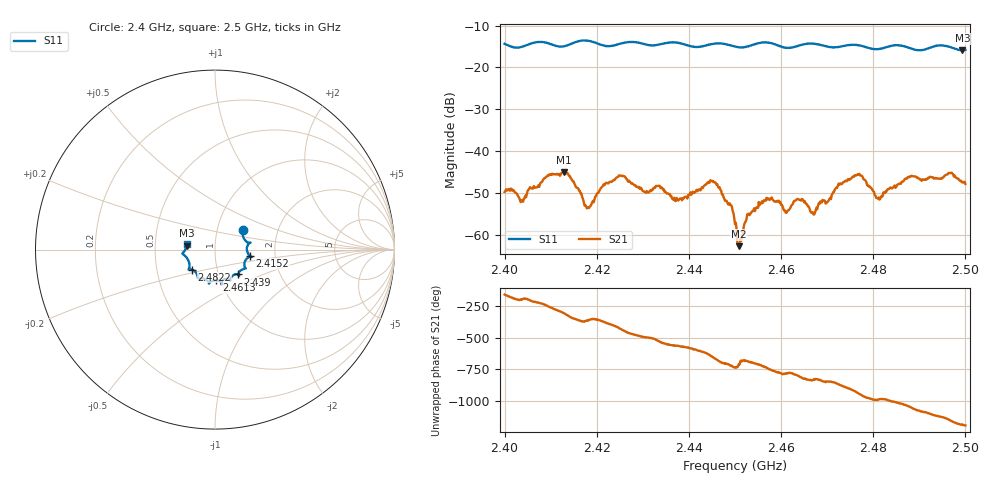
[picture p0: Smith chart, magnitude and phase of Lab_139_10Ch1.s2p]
# Hz S RI R 50
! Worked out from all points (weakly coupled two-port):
!   601 points, 2.4 GHz to 2.5 GHz, reference 50 ohm
!   highest |S21| = -45.10 dB at 2.4128 GHz (marker M1); lowest = -62.7 dB at 2.4508 GHz (marker M2)
!   lowest |S11| = -15.9 dB at 2.4993 GHz (marker M3), VSWR 1.38, Z = 36.3 + j1.6 ohm
!   |S11| at or under -10 dB: start of sweep to end of sweep
!   S12 and S22 are empty: the file has one direction only
!   S11 on the Smith chart (normalised r, x): 2.4 GHz: 1.33, +0.31; 2.4152 GHz: 1.48, -0.11; 2.439 GHz: 1.24, -0.35; 2.4613 GHz: 0.96, -0.34; 2.4822 GHz: 0.76, -0.17; 2.5 GHz: 0.73, +0.05
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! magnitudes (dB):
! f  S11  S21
! 2.4 GHz  -14.4  -49.8
! 2.4038 GHz  -15.1  -51.8
! 2.4128 GHz  -15.0  -45.1
! 2.4152 GHz  -14.1  -47.8
! 2.4167 GHz  -13.6  -50.1
! 2.4183 GHz  -13.7  -53.6
! 2.4252 GHz  -14.3  -45.8
! 2.4333 GHz  -14.6  -48.3
! 2.439 GHz  -14.5  -51.0
! 2.4452 GHz  -14.4  -47.1
! 2.45 GHz  -15.0  -57.5
! 2.4508 GHz  -15.2  -62.7
! 2.453 GHz  -14.9  -54.9
! 2.4563 GHz  -14.0  -51.7
! 2.4613 GHz  -15.3  -54.4
! 2.4642 GHz  -14.7  -51.6
! 2.4667 GHz  -14.3  -54.6
! 2.4765 GHz  -14.7  -45.7
! 2.4822 GHz  -15.4  -50.0
! 2.4833 GHz  -15.0  -49.1
! 2.4993 GHz  -15.9  -47.4
! 2.5 GHz  -15.8  -47.8
